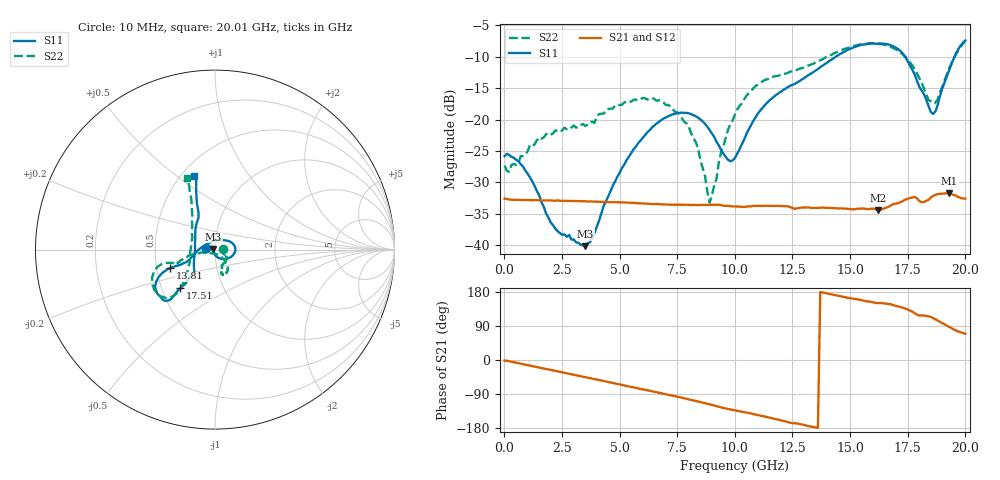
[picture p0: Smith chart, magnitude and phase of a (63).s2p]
! Hittite Microwave Corporation
! 2 Elizabeth Drive
! Chelmsford, MA 01824
! http://www.hittite.com
! Tel: 978-250-3343
! Fax: 978-250-3373
! Device:  HMC424LP3
! Description: 0.5 dB GaAs MMIC 6-Bit Digital Attenuator
! Frequency:  DC -  13.00 GHz
! Package:  LP3  - 3x3 mm Quad Flatpack No-Lead (QFN) Plastic Package: 16 pin
! Ports:  2 RF, 7 DC
!  Pad  1  = Ground
!  Pad  2  = RF IN  =  Port 1
!  Pad  3  = Ground
!  Pad  4  = V6
!  Pad  5  = V5
!  Pad  6  = V4
!  Pad  7  = V3
!  Pad  8  = V2
!  Pad  9  = V1
!  Pad 10  = Ground
!  Pad 11  = RF OUT  = Port 2
!  Pad 12  = Ground
!  Pad 15  = VEE
! Control:  -5 Volt control voltage
! State:  61
! Attenuation:  30.5 dB
! Voltages:  Vdd = -5.00 Volts  Idd =  -2.640 mA
!  V1  = -5.00 Volts  I1  =  -1.0 uA
!  V2  = 0.00 Volts  I2  =  29.0 uA
!  V3  = -5.00 Volts  I3  =  -1.0 uA
!  V4  = -5.00 Volts  I4  =  -1.0 uA
!  V5  = -5.00 Volts  I5  =  -1.0 uA
!  V6  = -5.00 Volts  I6  =  -1.0 uA
! Data:  The device was measured on evaluation board 105354-1.
!  Data was collected using a calibrated network analyzer.
!  The evaluation circuit board was modeled and simulated.  This was use
!  to removed the evaluation board circuit from the measured data.
!  The reference plane is the edge of the package pin.
! Misc:  Lot xxxx, Unit 1
!  Application 20120001, Data collected in Application 20090083
! Date Measured:  2009-09-15
! Date:  2012-05-14  MJV
! Note:
!  Hittite supplies this data as a sample of measured data at the package pin
!  for this product.  Your particular data for this product may vary.
!  Data was taken at 25 degrees C.
!  Hittite reserves the right to change this data at anytime.
# GHz S MA R 50
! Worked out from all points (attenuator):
!   201 points, 10 MHz to 20.01 GHz, reference 50 ohm
!   highest |S21| = -31.73 dB at 19.31 GHz (marker M1); lowest = -34.4 dB at 16.21 GHz (marker M2)
!   lowest |S11| = -40.1 dB at 3.51 GHz (marker M3), VSWR 1.02, Z = 49.1 + j0.383 ohm
!   |S11| at or under -10 dB: start of sweep to 14.38 GHz; 17.39 GHz to 19.54 GHz (2.143 GHz wide, 11.6 % of centre)
!   |S22| runs from -33.2 to -7.4 dB; largest |S21 - S12| = 0.0016
!   S11 on the Smith chart (normalised r, x): 10 MHz: 0.90, +0.01; 13.81 GHz: 0.59, -0.13; 17.51 GHz: 0.62, -0.29; 20.01 GHz: 0.58, +0.58
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0.01  0.05123 171.4  0.0235 -1.7  0.02459 -4.5  0.04309 6.2
0.21  0.05233 178.4  0.02309 -3.3  0.02309 -3.5  0.03845 -7.9
0.81  0.04222 177.9  0.02298 -11.2  0.02287 -11.0  0.05125 -20.0
2.21  0.01355 142.5  0.02258 -28.8  0.02264 -28.9  0.08214 -35.9
3.41  0.009967 147.0  0.02239 -43.9  0.02229 -44.1  0.09247 -54.2
3.51  0.009839 156.7  0.02242 -45.2  0.02233 -45.4  0.08903 -56.5
5.11  0.04147 -75.4  0.02196 -65.9  0.0219 -65.9  0.1317 -75.0
6.71  0.09601 -26.2  0.02125 -86.5  0.02126 -86.5  0.1429 -63.3
8.01  0.1123 8.8  0.021 -103.9  0.02094 -104.1  0.08714 -47.8
8.41  0.1036 20.0  0.02088 -109.5  0.02088 -109.6  0.05853 -48.0
8.91  0.08249 37.4  0.02101 -117.0  0.02099 -117.1  0.02187 -101.3
9.41  0.05714 67.7  0.02087 -125.3  0.02083 -125.4  0.05571 -160.1
10.01  0.04963 132.4  0.02039 -133.1  0.02037 -133.0  0.1097 -168.8
11.41  0.1369 -162.5  0.02065 -150.7  0.02056 -150.9  0.2097 -160.6
13.41  0.2389 -157.3  0.01983 -176.6  0.01974 -176.8  0.2783 -164.6
13.81  0.269 -157.5  0.01997 178.1  0.01987 178.1  0.3019 -165.0
16.21  0.4013 -139.2  0.01905 150.2  0.01898 150.2  0.4051 -141.7
16.71  0.3949 -133.7  0.02041 147.6  0.0204 147.6  0.3842 -135.6
17.51  0.2909 -132.2  0.02347 133.2  0.0234 132.9  0.3002 -131.2
18.61  0.111 177.2  0.02477 110.8  0.02472 110.9  0.1344 175.3
19.31  0.2483 112.7  0.02592 87.3  0.02589 87.0  0.2578 120.0
20.01  0.427 105.5  0.02356 69.2  0.02351 69.4  0.4269 111.5
